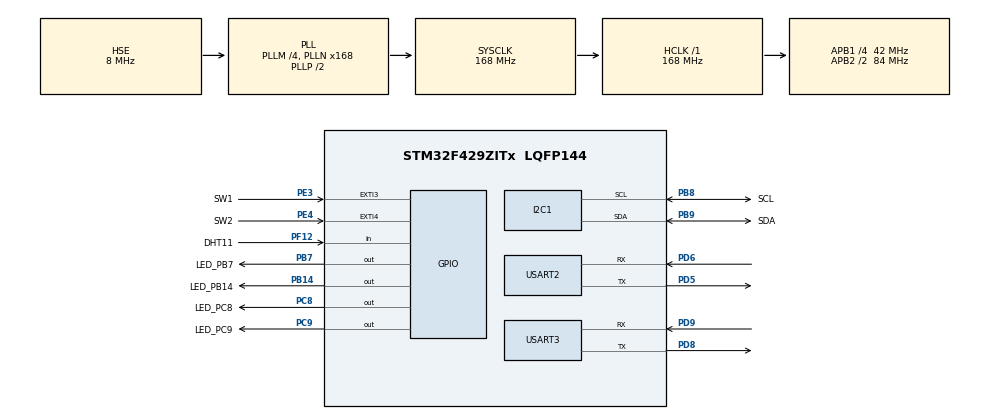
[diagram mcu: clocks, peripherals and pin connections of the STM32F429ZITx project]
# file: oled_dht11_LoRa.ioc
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Dma.Request0=USART2_RX
Dma.Request1=USART2_TX
Dma.USART2_RX.0.Direction=DMA_PERIPH_TO_MEMORY
Dma.USART2_RX.0.FIFOMode=DMA_FIFOMODE_DISABLE
Dma.USART2_RX.0.Instance=DMA1_Stream5
Dma.USART2_RX.0.MemDataAlignment=DMA_MDATAALIGN_BYTE
Dma.USART2_RX.0.MemInc=DMA_MINC_ENABLE
Dma.USART2_RX.0.Mode=DMA_CIRCULAR
Dma.USART2_RX.0.PeriphDataAlignment=DMA_PDATAALIGN_BYTE
Dma.USART2_RX.0.PeriphInc=DMA_PINC_DISABLE
Dma.USART2_RX.0.Priority=DMA_PRIORITY_LOW
Dma.USART2_TX.1.Direction=DMA_MEMORY_TO_PERIPH
Dma.USART2_TX.1.FIFOMode=DMA_FIFOMODE_DISABLE
Dma.USART2_TX.1.Instance=DMA1_Stream6
Dma.USART2_TX.1.MemDataAlignment=DMA_MDATAALIGN_BYTE
Dma.USART2_TX.1.MemInc=DMA_MINC_ENABLE
Dma.USART2_TX.1.Mode=DMA_NORMAL
Dma.USART2_TX.1.PeriphDataAlignment=DMA_PDATAALIGN_BYTE
Dma.USART2_TX.1.PeriphInc=DMA_PINC_DISABLE
Dma.USART2_TX.1.Priority=DMA_PRIORITY_LOW
FREERTOS.Tasks01=defaultTask,24,128,StartDefaultTask,Default,NULL,Dynamic,NULL,NULL
I2C1.I2C_Mode=I2C_Fast
Mcu.Family=STM32F4
Mcu.Name=STM32F429ZITx
Mcu.Package=LQFP144
NVIC.DMA1_Stream5_IRQn=true\:5\:0\:false\:false\:true\:true\:false\:true\:true
NVIC.DMA1_Stream6_IRQn=true\:5\:0\:false\:false\:true\:true\:false\:true\:true
NVIC.EXTI3_IRQn=true\:5\:0\:false\:false\:true\:true\:true\:true\:true
NVIC.EXTI4_IRQn=true\:5\:0\:false\:false\:true\:true\:true\:true\:true
NVIC.PriorityGroup=NVIC_PRIORITYGROUP_4
NVIC.TIM1_UP_TIM10_IRQn=true\:15\:0\:false\:false\:true\:false\:false\:true\:true
NVIC.TimeBase=TIM1_UP_TIM10_IRQn
NVIC.TimeBaseIP=TIM1
NVIC.USART2_IRQn=true\:5\:0\:false\:false\:true\:true\:true\:true\:true
PA13.Mode=Serial_Wire
PA13.Signal=SYS_JTMS-SWDIO
PA14.Mode=Serial_Wire
PA14.Signal=SYS_JTCK-SWCLK
PB14.GPIO_Label=LED_PB14
PB14.Signal=GPIO_Output
PB7.GPIO_Label=LED_PB7
PB7.Signal=GPIO_Output
PB8.GPIO_Label=SCL
PB8.Mode=I2C
PB8.Signal=I2C1_SCL
PB9.GPIO_Label=SDA
PB9.Mode=I2C
PB9.Signal=I2C1_SDA
PC8.GPIO_Label=LED_PC8
PC8.Signal=GPIO_Output
PC9.GPIO_Label=LED_PC9
PC9.Signal=GPIO_Output
PD5.Mode=Asynchronous
PD5.Signal=USART2_TX
PD6.Mode=Asynchronous
PD6.Signal=USART2_RX
PD8.Mode=Asynchronous
PD8.Signal=USART3_TX
PD9.Mode=Asynchronous
PD9.Signal=USART3_RX
PE3.GPIO_Label=SW1
PE3.Signal=GPXTI3
PE4.GPIO_Label=SW2
PE4.Signal=GPXTI4
PF12.GPIO_Label=DHT11
PF12.Signal=GPIO_Input
PH0/OSC_IN.Mode=HSE-External-Oscillator
PH0/OSC_IN.Signal=RCC_OSC_IN
PH1/OSC_OUT.Mode=HSE-External-Oscillator
PH1/OSC_OUT.Signal=RCC_OSC_OUT
ProjectManager.HeapSize=0x200
ProjectManager.StackSize=0x400
ProjectManager.TargetToolchain=MDK-ARM V5.32
RCC.48MHZClocksFreq_Value=48000000
RCC.AHBFreq_Value=168000000
RCC.APB1CLKDivider=RCC_HCLK_DIV4
RCC.APB1Freq_Value=42000000
RCC.APB1TimFreq_Value=84000000
RCC.APB2CLKDivider=RCC_HCLK_DIV2
RCC.APB2Freq_Value=84000000
RCC.APB2TimCLKDivider=2
RCC.APB2TimFreq_Value=168000000
RCC.CortexFreq_Value=168000000
RCC.HCLKFreq_Value=168000000
RCC.HSE_VALUE=8000000
RCC.HSI_VALUE=16000000
RCC.LSE_VALUE=32768
RCC.PLLM=4
RCC.PLLMUL=RCC_PLL_MUL9
RCC.PLLN=168
RCC.PLLQ=7
RCC.PLLSourceVirtual=RCC_PLLSOURCE_HSE
RCC.PRESCALERUSB=RCC_USBCLKSOURCE_PLL_DIV1_5
RCC.SYSCLKFreq_VALUE=168000000
RCC.SYSCLKSource=RCC_SYSCLKSOURCE_PLLCLK
RCC.SYSCLKSourceVirtual=RCC_SYSCLKSOURCE_PLLCLK
RCC.USBFreq_Value=48000000
RCC.VCOOutputFreq_Value=336000000
TIM2.Prescaler=83
USART2.VirtualMode=VM_ASYNC
USART3.VirtualMode=VM_ASYNC
VP_FREERTOS_VS_CMSIS_V2.Mode=CMSIS_V2
VP_SYS_VS_tim1.Mode=TIM1
VP_TIM2_VS_ClockSourceINT.Mode=Internal
board=NUCLEO-F429ZI

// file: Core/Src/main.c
/* USER CODE BEGIN Header */
/**
  ******************************************************************************
  * @file           : main.c
  * @brief          : Main program body
  ******************************************************************************
  * @attention
  *
  * Copyright (c) 2024 STMicroelectronics.
  * All rights reserved.
  *
  * This software is licensed under terms that can be found in the LICENSE file
  * in the root directory of this software component.
  * If no LICENSE file comes with this software, it is provided AS-IS.
  *
  ******************************************************************************
  */
/* USER CODE END Header */
#include "main.h"
#include "cmsis_os.h"
#include "dma.h"
#include "i2c.h"
#include "tim.h"
#include "usart.h"
#include "gpio.h"

/* USER CODE BEGIN Includes */
#include "FreeRTOS.h"
#include "queue.h"
#include "task.h"
#include "oled.h"
#include "u8g2.h"
#include "dht11.h"
#include "stdio.h"
#include "string.h"
/* USER CODE END Includes */

/* USER CODE BEGIN PV */
QueueHandle_t queueDHT11;
QueueHandle_t queueTx;
QueueHandle_t queueSwitch;
QueueHandle_t queueRx;

TaskHandle_t handleDHT11;
TaskHandle_t handleOLED;

TaskHandle_t handleDataTransmit;
TaskHandle_t handleDataReceive;

u8g2_t u8g2;

struct dht11{
	float Temp;
	float Humi;
};
uint8_t mode = 0;

struct dht11 dht11DATA ;

#define RX_BUFFER_SIZE 256 //Bytes
char DownlinkMSG[RX_BUFFER_SIZE] = "";
/* USER CODE END PV */

void SystemClock_Config(void);
void MX_FREERTOS_Init(void);

/* USER CODE BEGIN 0 */
void HAL_GPIO_EXTI_Callback(uint16_t GPIO_Pin){
	switch(GPIO_Pin){
		//sw1 PE3
		case GPIO_PIN_3:{
			if(HAL_GPIO_ReadPin(SW1_GPIO_Port, SW1_Pin) == 1){
				mode = 1;
				printf("display mode:Temperature and Humidity \r\n");
				xQueueSendFromISR(queueSwitch, &mode, NULL);
			}
			break;
		}
		//sw2 PE4
		case GPIO_PIN_4:{
			if(HAL_GPIO_ReadPin(SW2_GPIO_Port, SW2_Pin) == 1){
				mode = 2;
				printf("display mode:LoRaWAN DownLink Data \r\n");
				xQueueSendFromISR(queueSwitch, &mode, NULL);
			}
			break;
		}
	}
}

/**********************
receive data from queue
success -> pdPASS(1) -> update OLED
fail -> pdFAIL(0) -> taskYIELD();
**********************/
void taskOLED(void *pvParm){
	u8g2Init(&u8g2);
	u8g2_ClearBuffer(&u8g2);
	u8g2_ClearDisplay(&u8g2);
	u8g2_SetFont(&u8g2, u8g2_font_samim_16_t_all);
	uint8_t displayMode = 0;
	char displayTemp[20];
	char displayHumi[20];
	while(1){
		BaseType_t dht11Receive = xQueueReceive(queueDHT11, &dht11DATA, NULL);
		BaseType_t RxData = xQueueReceive(queueRx, &DownlinkMSG, NULL);
		if (mode == 1){
			if(dht11Receive == pdPASS){
				snprintf(displayTemp, sizeof(displayTemp), "Temp: %.1f C", dht11DATA.Temp);
				snprintf(displayHumi, sizeof(displayHumi), "Humi: %.1f %%", dht11DATA.Humi);
				u8g2_ClearBuffer(&u8g2);
				u8g2_DrawStr(&u8g2, 0, 20, displayTemp);
				u8g2_DrawStr(&u8g2, 0, 40, displayHumi);
				u8g2_SendBuffer(&u8g2);
				if(dht11DATA.Humi>=60){
					HAL_GPIO_WritePin(LED_PB7_GPIO_Port, LED_PB7_Pin, 1);
				}
				else{
					HAL_GPIO_WritePin(LED_PB7_GPIO_Port, LED_PB7_Pin, 0);
				}
			}
			else{
				taskYIELD();
			}
		}
		else if(mode == 2){
			if(RxData == pdPASS){
				u8g2_ClearBuffer(&u8g2);
				u8g2_DrawStr(&u8g2, 0, 20, "UART Data:");
				u8g2_DrawStr(&u8g2, 0, 40, DownlinkMSG);
				u8g2_SendBuffer(&u8g2);
			}
			else{
				taskYIELD();
			}
		}
		else{
			u8g2_ClearBuffer(&u8g2);
			u8g2_DrawStr(&u8g2, 0, 20, "OLED Open");
			u8g2_SendBuffer(&u8g2);
		}
		vTaskDelay(100);
	}
}
/***************
return from DHT11GetData(&temp, &humi);
success -> 0
fail -> -1

run every 3s
***************/
void taskDHT11(void *pvParm){
	while(1){
		HAL_GPIO_WritePin(LED_PB14_GPIO_Port, LED_PB14_Pin, 1);
		if(DHT11GetData(&dht11DATA.Humi, &dht11DATA.Temp) == 0){
			xQueueSend(queueDHT11, &dht11DATA, NULL);
			xQueueSend(queueTx, &dht11DATA, NULL);
			printf("Temp:%.1f C Humi:%.1f\r\n",dht11DATA.Temp,dht11DATA.Humi);
		}
		HAL_GPIO_WritePin(LED_PB14_GPIO_Port, LED_PB14_Pin, 0);
		vTaskDelay(3000);
	}
}
/***************
DHT11 DATA TO RAK3172 via UART2

run every 10s
***************/
void taskDataTransmit(void *pvParm){
	uint8_t txBuffer[2];
	while(1){
		BaseType_t txReceive = xQueueReceive(queueTx, &dht11DATA, NULL);
		if( txReceive == pdPASS ){
			txBuffer[0] = dht11DATA.Temp;
			txBuffer[1] = dht11DATA.Humi;
			HAL_UART_Transmit(&huart2,txBuffer, 2, HAL_MAX_DELAY);
		}
		HAL_GPIO_TogglePin(LED_PC8_GPIO_Port, LED_PC8_Pin);
		printf("Send Data: %d,%d\r\n",txBuffer[0],txBuffer[1]);
		vTaskDelay(10000);
	}
}
/***************
Data to STM32 via UART2
***************/
void taskDataReceive(void *pvParm){
	uint8_t rxBuffer[RX_BUFFER_SIZE] = {0};
	uint16_t rxLen = 0;  //check rxbuffer data size
	while (1){
		if(HAL_UARTEx_ReceiveToIdle(&huart2, (uint8_t*)rxBuffer, RX_BUFFER_SIZE, &rxLen, 500) == HAL_OK && rxLen > 0){
			printf("Received Data: ");
			for(int i = 0; i < rxLen; i++){
				printf("0x%02X ",rxBuffer[i]);
			}
			printf("\r\n");
			memcpy(DownlinkMSG, rxBuffer, rxLen);
			DownlinkMSG[rxLen] = '\0';
			printf("ASCII: %s\r\n", DownlinkMSG);
		}
		else{
			taskYIELD();
		}
		xQueueSend(queueRx, DownlinkMSG, NULL);
		memset(rxBuffer, 0, RX_BUFFER_SIZE);
		vTaskDelay(100);
	}
}
/* USER CODE END 0 */

int main(void)
{

  /* MCU Configuration--------------------------------------------------------*/

  /* Reset of all peripherals, Initializes the Flash interface and the Systick. */
  HAL_Init();

  /* Configure the system clock */
  SystemClock_Config();

  /* Initialize all configured peripherals */
  MX_GPIO_Init();
  MX_DMA_Init();
  MX_TIM2_Init();
  MX_USART3_UART_Init();
  MX_I2C1_Init();
  MX_USART2_UART_Init();
  /* USER CODE BEGIN 2 */
	queueDHT11  =  xQueueCreate(3, sizeof(dht11DATA));
	queueTx     =  xQueueCreate(3, sizeof(dht11DATA));
	queueRx     =  xQueueCreate(1, RX_BUFFER_SIZE);
	queueSwitch =  xQueueCreate(2, sizeof(uint8_t));
	/***********************
	memory allocate
	usStackDepth -> const uint16_t
	1word = 2bytes
	taskOLED -> 256 * 2 = 512 bytes = 0.5 kB
	taskDHT11 -> 128 * 2 = 256 bytes = 0.25 kB
	taskDataTransmit -> 256 * 2 = 512 bytes = 0.5 kB
	taskDataReceive -> 256 * 2 = 512 bytes = 0.5 kB
	***********************/
	xTaskCreate(taskDHT11, "DHT11", 256, NULL, 2, &handleDHT11);
	xTaskCreate(taskDataTransmit, "DataTransmit", 256, NULL, 1, &handleDataTransmit);
	xTaskCreate(taskDataReceive, "DataReceive", 512, NULL, 1, &handleDataReceive);
	xTaskCreate(taskOLED, "OLED", 512, NULL, 1, &handleOLED);
	printf("StartScheduler \r\n");
	vTaskStartScheduler();
  /* USER CODE END 2 */

  /* Init scheduler */
  osKernelInitialize();  /* Call init function for freertos objects (in freertos.c) */
  MX_FREERTOS_Init();

  /* Start scheduler */
  osKernelStart();

  /* We should never get here as control is now taken by the scheduler */
  /* Infinite loop */
  while (1)
  {

  }
}

void SystemClock_Config(void)
{
  RCC_OscInitTypeDef RCC_OscInitStruct = {0};
  RCC_ClkInitTypeDef RCC_ClkInitStruct = {0};

  /** Configure the main internal regulator output voltage
  */
  __HAL_RCC_PWR_CLK_ENABLE();
  __HAL_PWR_VOLTAGESCALING_CONFIG(PWR_REGULATOR_VOLTAGE_SCALE1);

  /** Initializes the RCC Oscillators according to the specified parameters
  * in the RCC_OscInitTypeDef structure.
  */
  RCC_OscInitStruct.OscillatorType = RCC_OSCILLATORTYPE_HSE;
  RCC_OscInitStruct.HSEState = RCC_HSE_ON;
  RCC_OscInitStruct.PLL.PLLState = RCC_PLL_ON;
  RCC_OscInitStruct.PLL.PLLSource = RCC_PLLSOURCE_HSE;
  RCC_OscInitStruct.PLL.PLLM = 4;
  RCC_OscInitStruct.PLL.PLLN = 168;
  RCC_OscInitStruct.PLL.PLLP = RCC_PLLP_DIV2;
  RCC_OscInitStruct.PLL.PLLQ = 7;
  if (HAL_RCC_OscConfig(&RCC_OscInitStruct) != HAL_OK)
  {
    Error_Handler();
  }

  /** Initializes the CPU, AHB and APB buses clocks
  */
  RCC_ClkInitStruct.ClockType = RCC_CLOCKTYPE_HCLK|RCC_CLOCKTYPE_SYSCLK
                              |RCC_CLOCKTYPE_PCLK1|RCC_CLOCKTYPE_PCLK2;
  RCC_ClkInitStruct.SYSCLKSource = RCC_SYSCLKSOURCE_PLLCLK;
  RCC_ClkInitStruct.AHBCLKDivider = RCC_SYSCLK_DIV1;
  RCC_ClkInitStruct.APB1CLKDivider = RCC_HCLK_DIV4;
  RCC_ClkInitStruct.APB2CLKDivider = RCC_HCLK_DIV2;

  if (HAL_RCC_ClockConfig(&RCC_ClkInitStruct, FLASH_LATENCY_5) != HAL_OK)
  {
    Error_Handler();
  }
}

void HAL_TIM_PeriodElapsedCallback(TIM_HandleTypeDef *htim)
{
  if (htim->Instance == TIM1) {
    HAL_IncTick();
  }
}

void Error_Handler(void)
{
  __disable_irq();
  while (1)
  {
  }
}
